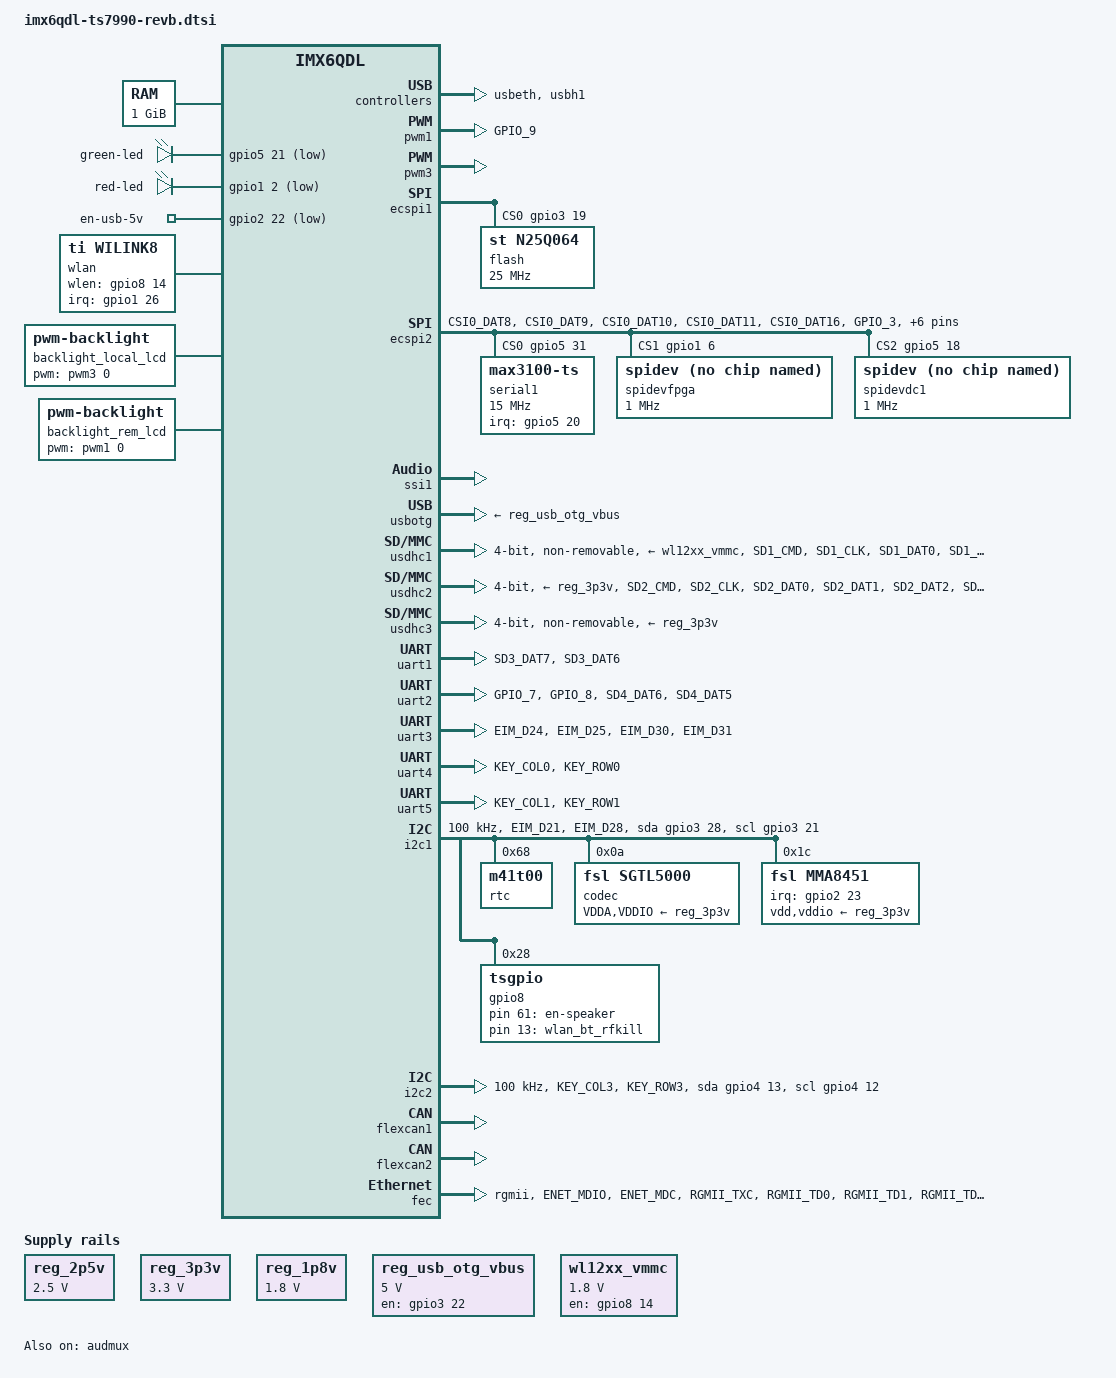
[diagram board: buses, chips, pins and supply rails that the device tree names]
/*
 * Copyright 2011 Freescale Semiconductor, Inc.
 * Copyright 2011 Linaro Ltd.
 *
 * The code contained herein is licensed under the GNU General Public
 * License. You may obtain a copy of the GNU General Public License
 * Version 2 or later at the following locations:
 *
 * http://www.opensource.org/licenses/gpl-license.html
 * http://www.gnu.org/copyleft/gpl.html
 */

#include <dt-bindings/interrupt-controller/irq.h>

/ {
	aliases {
		mxcfb0 = &mxcfb0;
		spi1 = &ecspi1;
		spi2 = &ecspi2;
		ethernet0 = &fec;
		ethernet1 = &usbeth;
	};

	memory {
		reg = <0x10000000 0x40000000>;
	};

	leds {
		compatible = "gpio-leds";

		green-led {
			label = "green-led";
			gpios = <&gpio5 21 1>;
			default-state = "on";
		};

		red-led {
			label = "red-led";
			gpios = <&gpio1 2 1>;
			default-state = "off";
		};

		// These are intended as userspace controlled IO.  In this kernel
		// version LEDs are the best interface I can find to allow both
		// userspace control and a default value.
		en-usb-5v {
			label = "en-usb-5v";
			gpios = <&gpio2 22 1>;
			default-state = "off";
		};

		en-speaker {
			label = "en-speaker";
			gpios = <&gpio8 61 0>;
			default-state = "on";
		};
	};

	regulators {
		compatible = "simple-bus";
		reg_2p5v: 2p5v {
			compatible = "regulator-fixed";
			regulator-name = "2P5V";
			regulator-min-microvolt = <2500000>;
			regulator-max-microvolt = <2500000>;
			regulator-always-on;
		};

		reg_3p3v: 3p3v {
			compatible = "regulator-fixed";
			regulator-name = "3P3V";
			regulator-min-microvolt = <3300000>;
			regulator-max-microvolt = <3300000>;
			regulator-always-on;
		};

		reg_1p8v: 1p8v {
			compatible = "regulator-fixed";
			regulator-name = "1P8V";
			regulator-min-microvolt = <1800000>;
			regulator-max-microvolt = <1800000>;
			regulator-always-on;
		};

		reg_usb_otg_vbus: usb_otg_vbus {
			compatible = "regulator-fixed";
			regulator-name = "usb_otg_vbus";
			regulator-min-microvolt = <5000000>;
			regulator-max-microvolt = <5000000>;
			gpio = <&gpio3 22 0>;
			enable-active-high;
		};

		wl12xx_vmmc: wl12xx_vmmc {
			compatible = "regulator-fixed";
			regulator-name = "wl12xx_vmmc";
			regulator-min-microvolt = <1800000>;
			regulator-max-microvolt = <1800000>;
			gpio = <&gpio8 14 0>;
			startup-delay-us = <100000>;
			enable-active-high;
			regulator-boot-on;
		};

	};

	sound {
		compatible = "fsl,imx6q-ts4900-sgtl5000",
			     "fsl,imx-audio-sgtl5000";
		model = "imx6q-ts4900-sgtl5000";
		cpu-dai = <&ssi1>;
		audio-codec = <&codec>;
		audio-routing =
			"MIC_IN", "Mic Jack",
			"Mic Jack", "Mic Bias",
			"Headphone Jack", "HP_OUT";
		mux-int-port = <1>;
		mux-ext-port = <3>;
	};

	lcd@0 {
		compatible = "fsl,lcd";
		ipu_id = <0>;
		disp_id = <0>;
		default_ifmt = "RGB24";
		pinctrl-names = "default";
		pinctrl-0 = <&pinctrl_ipu_7990>;
		status = "okay";
	};

	wlan {
		compatible = "ti,wilink8";
		interrupt-parent = <&gpio1>;
		wlen-gpio = <&gpio8 14 0>;
		interrupts = <26 IRQ_TYPE_EDGE_FALLING>;
	};

	wlan_bt_rfkill {
		compatible = "net,rfkill-gpio";
		name = "wlan_bt_rfkill";
		type = <2>;     /* bluetooth */
		gpios = <&gpio8 13 0>;
	};

	backlight_local_lcd {
		compatible = "pwm-backlight";
		pwms = <&pwm3 0 5000000>;
		brightness-levels = <0 128 140 160 180 200 220 240 255>;
		default-brightness-level = <8>;
	};

	backlight_rem_lcd {
		compatible = "pwm-backlight";
		pwms = <&pwm1 0 5000000>;
		brightness-levels = <0 128 140 160 180 200 220 240 255>;
		default-brightness-level = <8>;
	};

	touchscreen_spi: touch-spi {
		compatible = "spi-gpio";
		status = "disabled";
		gpio-sck = <&gpio2 20 0>;
		gpio-mosi = <&gpio2 18 0>;
		gpio-miso = <&gpio2 17 0>;
		cs-gpios = <&gpio2 19 0>;
		num-chipselects = <1>;
		#address-cells = <1>;
		#size-cells = <0>;

		touch: tsc2046@0 {
			compatible = "ti,tsc2046";
			reg = <0>;
			interrupt-parent = <&gpio3>;
			interrupts = <12 2>;
			vcc-supply = <&reg_3p3v>;
			spi-max-frequency = <100000>;
			pendown-gpio = <&gpio3 12 0>;
			ti,penirq-recheck-delay-usecs = /bits/ 16 <5000>;
			ti,vref-mv = <3300>;
			ti,swap-xy;
			ti,keep-vref-on;
			ti,settle-delay-usec = /bits/ 16 <5000>;
			ti,vref-delay-usecs = /bits/ 16 <0>;
			ti,x-plate-ohms = /bits/ 16 <400>;
			ti,y-plate-ohms = /bits/ 16 <400>;
			ti,debounce-rep = /bits/ 16 <2>;
			ti,debounce-tol = /bits/ 16 <65535>;
			ti,debounce-max = /bits/ 16 <0>;
			ti,pendown-gpio-debounce = <100000>;
			linux,wakeup;
		};
	};

	usbeth: smsc95xx {
		status = "okay";
	};
};

&pwm1 {
	pinctrl-names = "default";
	pinctrl-0 = <&pinctrl_pwm_rem>;
	status = "okay";
};

&pwm3 {
	pinctrl-names = "default";
	pinctrl-0 = <&pinctrl_pwm3_1>;
	status = "okay";
};

&ecspi1 {
	fsl,spi-num-chipselects = <1>;
	cs-gpios = <&gpio3 19 0>;
	pinctrl-names = "default";
	pinctrl-0 = <&pinctrl_ecspi1_1>;
	status = "okay";
	flash: n25q064@0 {
		compatible = "st,n25q064";
		spi-max-frequency = <25000000>;
		reg = <0>;
		#address-cells = <1>;
		#size-cells = <1>;

		uboot@0 {
			label = "U-Boot";
			reg = <0x0000000 0x0100000>;
		};
		ubootenv@0100000 {
			label = "env";
			reg = <0x0100000 0x0020000>;
		};
		ubootenv@0200000 {
			label = "splash";
			reg = <0x0200000 0x0100000>;
		};
		user@0400000 {
			label = "user-data";
			reg = <0x0400000 0x0400000>;
		};
	};
};

&ecspi2 {
	fsl,spi-num-chipselects = <3>;
	cs-gpios = <&gpio5 31 0>, <&gpio1 6 0>, <&gpio5 18 0>;
	pinctrl-names = "default";
	pinctrl-0 = <&pinctrl_ecspi2_7990>;
	status = "okay";

	serial1: max3100-0@0 {
		compatible = "max3100-ts";
		reg = <0>;
		interrupt-parent = <&gpio5>;
		interrupts = <20 IRQ_TYPE_LEVEL_LOW>;
		spi-max-frequency = <15000000>;
		loopback = <0>;
		crystal = <1>;
		poll-time = <100>;
		fifo-size = <16>;
	};

	spidevfpga: spi@1 {
		compatible = "spidev";
		reg = <1>;
		spi-max-frequency = <1000000>;
	};

	spidevdc1: spi@2 {
		compatible = "spidev";
		reg = <2>;
		spi-max-frequency = <1000000>;
	};
};

&ssi1 {
	fsl,mode = "i2s-slave";
	status = "okay";
};

&iomuxc {
	pinctrl-names = "default";
	pinctrl-0 = <&pinctrl_misc>;

	i2c1-7990 {
		pinctrl_7990_i2c1: i2c17990grp {
			fsl,pins = <
				MX6QDL_PAD_EIM_D21__I2C1_SCL 0x4001b8b1
				MX6QDL_PAD_EIM_D28__I2C1_SDA 0x4001b8b1
			>;
		};
	};

	i2c1-gpio-7990 {
		pinctrl_7990_i2c1_gpio: i2c17990gpiogrp {
			fsl,pins = <
				MX6QDL_PAD_EIM_D21__GPIO3_IO21 0x4001b8b1
				MX6QDL_PAD_EIM_D28__GPIO3_IO28 0x4001b8b1
			>;
		};
	};

	i2c2-7990 {
		pinctrl_7990_i2c2: i2c27990grp {
			fsl,pins = <
				MX6QDL_PAD_KEY_COL3__I2C2_SCL 0x4001b8b1
				MX6QDL_PAD_KEY_ROW3__I2C2_SDA 0x4001b8b1
			>;
		};
	};

	i2c2-gpio-7990 {
		pinctrl_7990_i2c2_gpio: i2c27990gpiogrp {
			fsl,pins = <
				MX6QDL_PAD_KEY_COL3__GPIO4_IO12 0x4001b8b1
				MX6QDL_PAD_KEY_ROW3__GPIO4_IO13 0x4001b8b1
			>;
		};
	};

	uart1-7990 {
		pinctrl_uart1_7990: tsuart1-grp-2 {
			fsl,pins = <
				MX6QDL_PAD_SD3_DAT7__UART1_TX_DATA	0x1b0b1
				MX6QDL_PAD_SD3_DAT6__UART1_RX_DATA	0x1b0b1
			>;
		};
	};

	uart2-7990 {
		pinctrl_uart2_7990: tsuart2-grp-2 {
			fsl,pins = <
				MX6QDL_PAD_GPIO_7__UART2_TX_DATA	0x1b0b1
				MX6QDL_PAD_GPIO_8__UART2_RX_DATA	0x1b0b1
				MX6QDL_PAD_SD4_DAT6__UART2_CTS_B    0x1b0b1
				MX6QDL_PAD_SD4_DAT5__UART2_RTS_B    0x130B1
			>;
		};
	};

	uart3-7990 {
		pinctrl_uart3_7990: tsuart3-grp-2 {
			fsl,pins = <
				MX6QDL_PAD_EIM_D24__UART3_TX_DATA	0x1b0b1
				MX6QDL_PAD_EIM_D25__UART3_RX_DATA	0x1b0b1
				MX6QDL_PAD_EIM_D30__UART3_CTS_B     0x1b0b1
				MX6QDL_PAD_EIM_D31__UART3_RTS_B     0x1b0b1
			>;
		};
	};

	uart4-7990 {
		pinctrl_uart4_7990: tsuart4-grp-2 {
			fsl,pins = <
				MX6QDL_PAD_KEY_COL0__UART4_TX_DATA	0x1b0b1
				MX6QDL_PAD_KEY_ROW0__UART4_RX_DATA	0x1b0b1
			>;
		};
	};

	uart5-7990 {
		pinctrl_uart5_7990: tsuart5-grp-2 {
			fsl,pins = <
				MX6QDL_PAD_KEY_COL1__UART5_TX_DATA	0x1b0b1
				MX6QDL_PAD_KEY_ROW1__UART5_RX_DATA	0x1b0b1
			>;
		};
	};

	// TODO verify irq uses same pad settings
	usdhc1-7990 {
		pinctrl_usdhc1_7990: tsusdhc1grp-1 {
			fsl,pins = <
				MX6QDL_PAD_SD1_CMD__SD1_CMD	     0x17059
				MX6QDL_PAD_SD1_CLK__SD1_CLK	     0x10059
				MX6QDL_PAD_SD1_DAT0__SD1_DATA0	 0x17059
				MX6QDL_PAD_SD1_DAT1__SD1_DATA1	 0x17059
				MX6QDL_PAD_SD1_DAT2__SD1_DATA2	 0x17059
				MX6QDL_PAD_SD1_DAT3__SD1_DATA3	 0x17059
				MX6QDL_PAD_ENET_RXD1__GPIO1_IO26 0x17059 // WIFI IRQ
			>;
		};
	};

	usdhc2-7990 {
		pinctrl_usdhc2_7990: tsusdhc2grp-2 {
			fsl,pins = <
				MX6QDL_PAD_SD2_CMD__SD2_CMD    0x17059
				MX6QDL_PAD_SD2_CLK__SD2_CLK    0x10059
				MX6QDL_PAD_SD2_DAT0__SD2_DATA0 0x17059
				MX6QDL_PAD_SD2_DAT1__SD2_DATA1 0x17059
				MX6QDL_PAD_SD2_DAT2__SD2_DATA2 0x17059
				MX6QDL_PAD_SD2_DAT3__SD2_DATA3 0x17059
			>;
		};
	};

	ecspi2-7990 {
		pinctrl_ecspi2_7990: tsecspi2-1 {
			fsl,pins = <
				MX6QDL_PAD_CSI0_DAT8__ECSPI2_SCLK      0x100b1    // FPGA_SPI_CLK
				MX6QDL_PAD_CSI0_DAT9__ECSPI2_MOSI      0x100b1    // FPGA_SPI_MOSI
				MX6QDL_PAD_CSI0_DAT10__ECSPI2_MISO     0x100b1    // FPGA_SPI_MISO
				MX6QDL_PAD_CSI0_DAT11__GPIO5_IO29      0x1c0b1    // Offboard CS0#
				MX6QDL_PAD_CSI0_DAT16__GPIO6_IO02      0x100b1    // FPGA CS0#
				MX6QDL_PAD_GPIO_3__XTALOSC_REF_CLK_24M 0x10       // FPGA 24MHZ
				MX6QDL_PAD_CSI0_DATA_EN__GPIO5_IO20    0x80000000 // FPGA_IRQ_0
				MX6QDL_PAD_GPIO_4__GPIO1_IO04          0x80000000 // FPGA_IRQ_1
				MX6QDL_PAD_EIM_EB0__GPIO2_IO28         0x80000000 // FPGA_IRQ_2
				MX6QDL_PAD_CSI0_DAT13__GPIO5_IO31      0x1c0b1 // FPGA_SPI_CS0#
				MX6QDL_PAD_GPIO_6__GPIO1_IO06          0x1c0b1 // FPGA_SPI_CS1#
				MX6QDL_PAD_CSI0_PIXCLK__GPIO5_IO18     0x1c0b1 // DC_SPI_CS#
			>;
		};
	};

	spi-gpio-rem {
		pinctrl_spigpio_rem: spigpio_rem {
			fsl,pins = <
				MX6QDL_PAD_SD3_RST__GPIO7_IO08			0x80000000 // SPI_REM_CS#
				MX6QDL_PAD_SD4_DAT7__GPIO2_IO15         0x100b1    // SPI_REM_MOSI
				MX6QDL_PAD_EIM_DA11__GPIO3_IO11         0x100b1    // SPI_REM_MISO
				MX6QDL_PAD_EIM_DA0__GPIO3_IO00			0x80000000 // TOUCH_REM_IRQ
				MX6QDL_PAD_EIM_DA2__GPIO3_IO02          0x100b1    // SPI_REM_CLK
			>;
		};
	};

	ipu-7990 {
		pinctrl_ipu_7990: tsipugrp-1 {
			fsl,pins = <
				MX6QDL_PAD_DI0_DISP_CLK__IPU1_DI0_DISP_CLK      0x38 // LCD_PIX_CLK
				MX6QDL_PAD_DI0_PIN15__IPU1_DI0_PIN15            0xf0 // LCD_DE
				MX6QDL_PAD_DISP0_DAT2__IPU1_DISP0_DATA02        0xe0 // LCD_D02
				MX6QDL_PAD_DISP0_DAT3__IPU1_DISP0_DATA03        0xe0 // LCD_D03
				MX6QDL_PAD_DISP0_DAT4__IPU1_DISP0_DATA04        0xe0 // LCD_D04
				MX6QDL_PAD_DISP0_DAT5__IPU1_DISP0_DATA05        0xe0 // LCD_D05
				MX6QDL_PAD_DISP0_DAT6__IPU1_DISP0_DATA06        0xe0 // LCD_D06
				MX6QDL_PAD_DISP0_DAT7__IPU1_DISP0_DATA07        0xe0 // LCD_D07
				MX6QDL_PAD_DISP0_DAT10__IPU1_DISP0_DATA10       0xe0 // LCD_D10
				MX6QDL_PAD_DISP0_DAT11__IPU1_DISP0_DATA11       0xe0 // LCD_D11
				MX6QDL_PAD_DISP0_DAT12__IPU1_DISP0_DATA12       0xe0 // LCD_D12
				MX6QDL_PAD_DISP0_DAT13__IPU1_DISP0_DATA13       0xe0 // LCD_D13
				MX6QDL_PAD_DISP0_DAT14__IPU1_DISP0_DATA14       0xe0 // LCD_D14
				MX6QDL_PAD_DISP0_DAT15__IPU1_DISP0_DATA15       0xe0 // LCD_D15
				MX6QDL_PAD_DISP0_DAT18__IPU1_DISP0_DATA18       0xe0 // LCD_D18
				MX6QDL_PAD_DISP0_DAT19__IPU1_DISP0_DATA19       0xe0 // LCD_D19
				MX6QDL_PAD_DISP0_DAT20__IPU1_DISP0_DATA20       0xe0 // LCD_D20
				MX6QDL_PAD_DISP0_DAT21__IPU1_DISP0_DATA21       0xe0 // LCD_D21
				MX6QDL_PAD_DISP0_DAT22__IPU1_DISP0_DATA22       0xe0 // LCD_D22
				MX6QDL_PAD_DISP0_DAT23__IPU1_DISP0_DATA23       0xe0 // LCD_D23
			>;
		};
	};

	pwm-rem {
		pinctrl_pwm_rem: rem_pwm {
			fsl,pins = <
				MX6QDL_PAD_GPIO_9__PWM1_OUT            0x1b0b1   // PWM_REM_LCD
			>;
		};
	};

	enet-7990 {
		pinctrl_enet_7990: enet-7990 {
			fsl,pins = <
				MX6QDL_PAD_ENET_MDIO__ENET_MDIO       0x1b0b0
				MX6QDL_PAD_ENET_MDC__ENET_MDC         0x1b0b0
				MX6QDL_PAD_RGMII_TXC__RGMII_TXC       0x1b0b0
				MX6QDL_PAD_RGMII_TD0__RGMII_TD0       0x1b0b0
				MX6QDL_PAD_RGMII_TD1__RGMII_TD1       0x1b0b0
				MX6QDL_PAD_RGMII_TD2__RGMII_TD2       0x1b0b0
				MX6QDL_PAD_RGMII_TD3__RGMII_TD3       0x1b0b0
				MX6QDL_PAD_RGMII_TX_CTL__RGMII_TX_CTL 0x1b0b0
				MX6QDL_PAD_ENET_REF_CLK__ENET_TX_CLK  0x1b0b0
				MX6QDL_PAD_RGMII_RXC__RGMII_RXC       0x1b0b0
				MX6QDL_PAD_RGMII_RD0__RGMII_RD0       0x1b0b0
				MX6QDL_PAD_RGMII_RD1__RGMII_RD1       0x1b0b0
				MX6QDL_PAD_RGMII_RD2__RGMII_RD2       0x1b0b0
				MX6QDL_PAD_RGMII_RD3__RGMII_RD3       0x1b0b0
				MX6QDL_PAD_RGMII_RX_CTL__RGMII_RX_CTL 0x1b0b0
				MX6QDL_PAD_ENET_REF_CLK__ENET_TX_CLK  0x4001b0a8
				MX6QDL_PAD_ENET_TX_EN__GPIO1_IO28     0x80000000
				MX6QDL_PAD_DI0_PIN4__GPIO4_IO20       0x80000000 // ETH_PHY_RESET
			>;
		};
	};

	misc {
		pinctrl_misc: misc {
			fsl,pins = <
				MX6QDL_PAD_SD4_DAT3__GPIO2_IO11        0x80000000 // USB_HUB_RESET#
				MX6QDL_PAD_GPIO_2__GPIO1_IO02          0x80000000 // RED_LED#
				MX6QDL_PAD_GPIO_16__GPIO7_IO11         0x80000000 // JTAG_FPGA_TCK
				MX6QDL_PAD_GPIO_17__GPIO7_IO12         0x80000000 // JTAG_FPGA_TDI
				MX6QDL_PAD_GPIO_5__GPIO1_IO05          0x80000000 // JTAG_FPGA_TMS
				MX6QDL_PAD_CSI0_MCLK__GPIO5_IO19       0x80000000 // JTAG_FPGA_TDO
				MX6QDL_PAD_CSI0_VSYNC__GPIO5_IO21      0x80000000 // GREEN_LED#
				MX6QDL_PAD_GPIO_0__CCM_CLKO1           0x130b0    // AUD_MCLK
				MX6QDL_PAD_DI0_PIN2__GPIO4_IO18        0x80000000 // EN_232_TRANS
				MX6QDL_PAD_EIM_OE__GPIO2_IO25          0x80000000 // JP_OPTION#
				MX6QDL_PAD_EIM_RW__GPIO2_IO26          0x80000000 // JP_SD_BOOT#
				MX6QDL_PAD_EIM_CS0__GPIO2_IO23         0x80000000 // ACCEL_INT
				MX6QDL_PAD_EIM_A16__GPIO2_IO22         0x80000000 // EN_USB_5V
				MX6QDL_PAD_EIM_A18__GPIO2_IO20         0x100b1 // TOUCH_SPI_CLK
				MX6QDL_PAD_EIM_A19__GPIO2_IO19         0x180b1 // TOUCH_SPI_CS#
				MX6QDL_PAD_EIM_A20__GPIO2_IO18         0x100b1 // TOUCH_SPI_MOSI
				MX6QDL_PAD_EIM_A21__GPIO2_IO17         0x100b1 // TOUCH_SPI_MISO
				MX6QDL_PAD_EIM_DA12__GPIO3_IO12        0x180b1 // TOUCH_IRQ
				MX6QDL_PAD_EIM_D19__GPIO3_IO19         0x80000000 // BOOT_SPI_1_CS1#
				MX6QDL_PAD_EIM_D23__GPIO3_IO23         0x80000000 // EN_RTC_PWR#
				MX6QDL_PAD_EIM_BCLK__GPIO6_IO31        0x80000000 // EN_CAN#
				MX6QDL_PAD_EIM_EB1__GPIO2_IO29         0x80000000 // EN_800_NIT
				MX6QDL_PAD_EIM_DA4__GPIO3_IO04         0x80000000 // 5V_REG_PWM_MODE
				MX6QDL_PAD_EIM_DA5__GPIO3_IO05         0x80000000 // EN_HUB_3.3V
				MX6QDL_PAD_EIM_DA9__GPIO3_IO09         0x80000000 // PUSH_SW_1#
				MX6QDL_PAD_EIM_DA10__GPIO3_IO10        0x80000000 // PUSH_SW_2#
				MX6QDL_PAD_EIM_DA13__GPIO3_IO13        0x80000000 // GPS_1PPS
				MX6QDL_PAD_EIM_DA15__GPIO3_IO15        0x80000000 // ACCEL_2_INT

				// Strapping only
				MX6QDL_PAD_EIM_LBA__GPIO2_IO27         0x80000000 // BUS_ALE#
				MX6QDL_PAD_EIM_A24__GPIO5_IO04         0x80000000 // DIO_20
				MX6QDL_PAD_EIM_WAIT__GPIO5_IO00        0x80000000 // EIM_WAIT#
				MX6QDL_PAD_EIM_DA6__GPIO3_IO06         0x80000000 // MUX_AD_06
				MX6QDL_PAD_EIM_DA7__GPIO3_IO07         0x80000000 // MUX_AD_07
			>;
		};
	};
};

&usbotg {
	vbus-supply = <&reg_usb_otg_vbus>;
	pinctrl-names = "default";
	pinctrl-0 = <&pinctrl_usbotg_1>;
	disable-over-current;
	status = "okay";
};

&usbh1 {
	status = "okay";
};

&weim {
	status = "disabled";
};

// WIFI
&usdhc1 {
	pinctrl-names = "default";
	pinctrl-0 = <&pinctrl_usdhc1_7990>;
	vmmc-supply = <&wl12xx_vmmc>;
	bus-width = <4>;
	status = "okay";
	ocr-limit = <0x80>;
	non-removable;
};

// SD
&usdhc2 {
	pinctrl-names = "default";
	pinctrl-0 = <&pinctrl_usdhc2_7990>;
	vmmc-supply = <&reg_3p3v>;
	bus-width = <4>;
	status = "okay";
	fsl,wp-controller;
};

// eMMC
&usdhc3 {
	pinctrl-names = "default";
	pinctrl-0 = <&pinctrl_usdhc3_2>;
	vmmc-supply = <&reg_3p3v>;
	bus-width = <4>;
	status = "okay";
	fsl,wp-controller;
	non-removable;
};

&audmux {
	status = "okay";
	pinctrl-names = "default";
	pinctrl-0 = <&pinctrl_audmux_2>;
};

&uart1 {
	status = "okay";
	pinctrl-names = "default";
	pinctrl-0 = <&pinctrl_uart1_7990>;
};

&uart2 {
	status = "okay";
	pinctrl-names = "default";
	pinctrl-0 = <&pinctrl_uart2_7990>;
	fsl,uart-has-rtscts;
};

&uart3 {
	status = "okay";
	pinctrl-names = "default";
	pinctrl-0 = <&pinctrl_uart3_7990>;
};

&uart4 {
	status = "okay";
	pinctrl-names = "default";
	pinctrl-0 = <&pinctrl_uart4_7990>;
};

&uart5 {
	status = "okay";
	pinctrl-names = "default";
	pinctrl-0 = <&pinctrl_uart5_7990>;
};

&i2c1 {
	status = "okay";
	clock-frequency = <100000>;
	pinctrl-names = "default", "gpio";
	pinctrl-0 = <&pinctrl_7990_i2c1>;
	pinctrl-1 = <&pinctrl_7990_i2c1_gpio>;
	scl-gpios = <&gpio3 21 0>;
	sda-gpios = <&gpio3 28 0>;

	captouch: pixcir_ts@5c {
		compatible = "pixcir,pixcir_tangoc";
		reg = <0x5c>;
		interrupt-parent = <&gpio3>;
		interrupts = <12 0>;
		attb-gpio = <&gpio3 12 0>;
		touchscreen-size-x = <1024>;
		touchscreen-size-y = <600>;
		status="disabled";
	};

	rtc: m41t00s@68 {
		compatible = "m41t00";
		reg = <0x68>;
	};

	codec: sgtl5000@0a {
		compatible = "fsl,sgtl5000";
		reg = <0x0a>;
		clocks = <&clks 201>;
		VDDA-supply = <&reg_3p3v>;
		VDDIO-supply = <&reg_3p3v>;
	};

	mma8451@1c {
		compatible = "fsl,mma8451";
		reg = <0x1c>;
		position = <0>;
		vdd-supply = <&reg_3p3v>;
		vddio-supply = <&reg_3p3v>;
		interrupt-parent = <&gpio2>;
		interrupts = <23 8>;
		interrupt-route = <1>;
	};

	gpio8: tsgpio@28 {
		compatible = "tsgpio";
		reg = <0x28>;
		#gpio-cells = <2>;
		gpio-controller;
		base = <224>;
		2bitio;
	};
};

&i2c2 {
	status = "okay";
	clock-frequency = <100000>;
	pinctrl-names = "default", "gpio";
	pinctrl-0 = <&pinctrl_7990_i2c2>;
	pinctrl-1 = <&pinctrl_7990_i2c2_gpio>;
	scl-gpios = <&gpio4 12 0>;
	sda-gpios = <&gpio4 13 0>;
};

&flexcan1 {
	pinctrl-names = "default";
	pinctrl-0 = <&pinctrl_flexcan1_1>;
	status = "okay";
};

&flexcan2 {
	pinctrl-names = "default";
	pinctrl-0 = <&pinctrl_flexcan2_1>;
	status = "okay";
};

&fec {
	pinctrl-names = "default";
	pinctrl-0 = <&pinctrl_enet_7990>;
	phy-mode = "rgmii";
	status = "okay";
};
